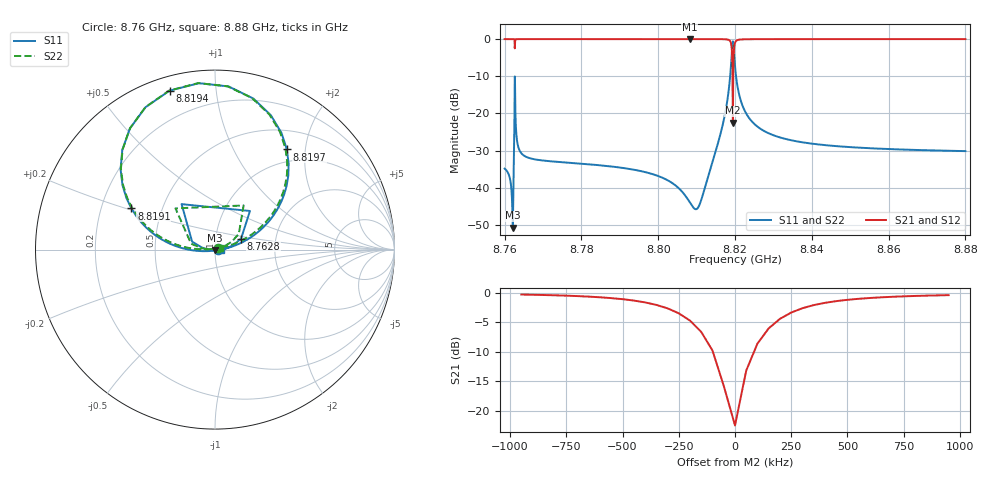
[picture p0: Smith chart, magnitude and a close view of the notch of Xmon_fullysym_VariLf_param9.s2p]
! Sonnet Data File
! From: emgraph Version : 16.52
! From Project: 171117_Xmon_fullysym
! Data is De-embedded
! Data File Written: 11/27/2017 00:27:56
!< HDATE 11/26/2017 21:47:59
!< MDATE 11/26/2017 21:47:59
!< PARAMS
!< Lj = 11.0
!< Gap = 1.0
!< Pwid = 2000.0
!< Airgap = 6.0
!< Width = 10.0
!< Lj1 = 10.78
!< END PARAMS
# GHZ S MA R 50.90000
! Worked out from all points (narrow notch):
!   2401 points, 8.76 GHz to 8.88 GHz, reference 50.9 ohm
!   highest |S21| = 0.00 dB at 8.8082 GHz (marker M1); lowest = -22.5 dB at 8.8194 GHz (marker M2)
!   notch at M2: 22.5 dB deep, 159 kHz wide at half that depth
!   lowest |S11| = -50.7 dB at 8.7622 GHz (marker M3), VSWR 1.01, Z = 50.8 - j0.289 ohm
!   |S11| at or under -10 dB: start of sweep to 8.8187 GHz; 8.8203 GHz to end of sweep
!   |S22| runs from -47.0 to -0.6 dB; largest |S21 - S12| = 0
!   S11 on the Smith chart (normalised r, x): 8.76 GHz: 1.04, -0.00; 8.7628 GHz: 1.33, +0.17; 8.8191 GHz: 0.33, +0.21; 8.8194 GHz: 0.06, +0.75; 8.8197 GHz: 0.79, +1.66; 8.88 GHz: 1.06, -0.00
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8.76  0.01808 -6.4  0.9998 -80.9  0.9998 -80.9  0.0181 24.7
!< P1 F=8.76 Eeff=(6.44841381 -2.9796e-5) Z0=(50.9085048 1.17026e-4) R=0.0 C=0.0
!< P2 F=8.76 Eeff=(6.44841381 -2.9796e-5) Z0=(50.9085048 1.17026e-4) R=0.0 C=0.0
8.7617  0.01038 -14.4  0.9997 -81.4  0.9997 -81.4  0.01054 34.1
8.76215  0.002902 -101.9  0.9992 -82.0  0.9992 -82.0  0.004495 112.2
8.76275  0.158 23.0  0.9567 -73.0  0.9567 -73.0  0.1594 33.6
8.7631  0.04944 4.0  0.9976 -79.2  0.9976 -79.2  0.04961 20.5
8.7661  0.02541 -2.8  0.9997 -80.6  0.9997 -80.6  0.02542 21.8
8.78  0.02105 -5.3  0.9998 -81.0  0.9998 -81.0  0.02106 23.5
8.8  0.01437 -12.8  0.9999 -81.5  0.9999 -81.5  0.01438 29.8
8.80825  0.006324 -46.8  0.9999 -82.2  0.9999 -82.2  0.00639 62.9
8.8106  0.005663 -107.8  0.9999 -82.5  0.9999 -82.5  0.005777 122.2
8.81485  0.02958 -164.6  0.9993 -84.1  0.9993 -84.1  0.02966 175.5
8.81825  0.1842 177.3  0.9796 -93.1  0.9796 -93.1  0.1844 174.4
8.81905  0.5192 153.8  0.8292 -113.7  0.8292 -113.7  0.5197 153.1
8.8194  0.9211 106.0  0.1628 -139.5  0.1628 -139.5  0.9218 106.1
8.81945  0.9316 95.5  0.07521 -58.3  0.07521 -58.3  0.9323 95.8
8.8197  0.687 54.4  0.6802 -39.2  0.6802 -39.2  0.6875 55.2
8.82  0.4298 34.0  0.8895 -57.0  0.8895 -57.0  0.43 35.5
8.8216  0.1432 13.9  0.9887 -74.3  0.9887 -74.3  0.1433 18.3
8.8247  0.07499 7.8  0.997 -78.2  0.997 -78.2  0.07501 16.0
8.84  0.03919 1.8  0.9992 -80.5  0.9992 -80.5  0.03919 17.3
8.86  0.03314 -0.2  0.9994 -81.0  0.9994 -81.0  0.03314 18.2
8.88  0.0311 -1.1  0.9995 -81.3  0.9995 -81.3  0.0311 18.6
